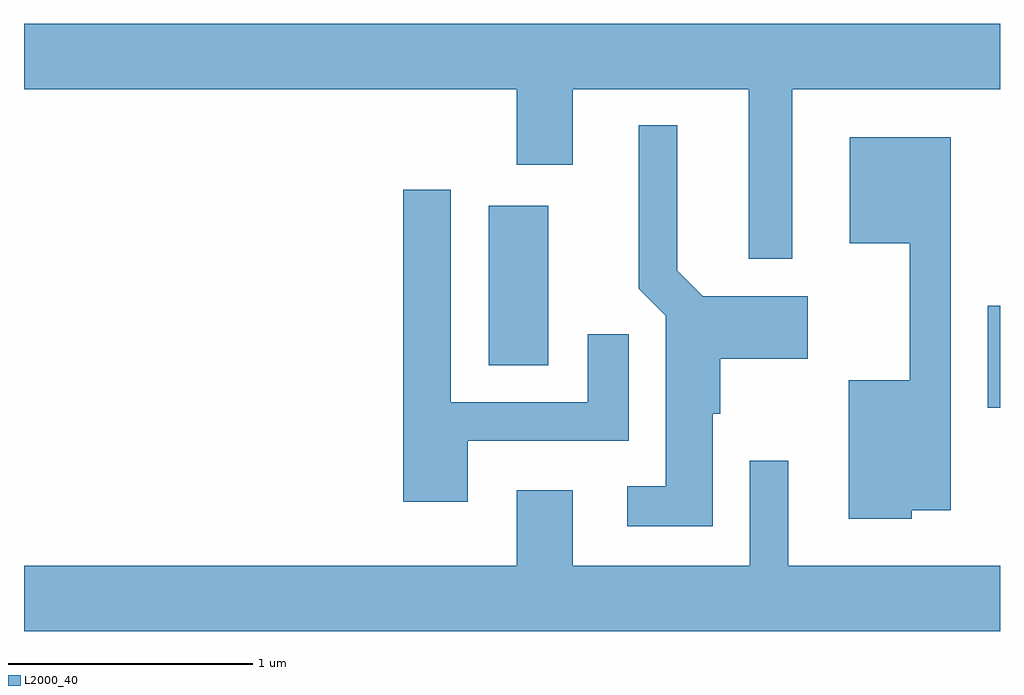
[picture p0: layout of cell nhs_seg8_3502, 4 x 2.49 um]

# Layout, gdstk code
import gdstk
lib = gdstk.Library(unit=1e-6, precision=1e-09)
def R(c, l, rs):  # rectangles x0, y0, x1, y1
    for r in rs: c.add(gdstk.rectangle(r[:2], r[2:], *l))
def P(c, l, *ps):  # polygons
    for p in ps: c.add(gdstk.Polygon(p, *l))
L2000_40 = (2000, 40)

nhs_seg8_3502 = lib.new_cell('nhs_seg8_3502')
R(nhs_seg8_3502, L2000_40, [(293.561,1903.931,293.611,1904.349), (291.516,1904.106,291.759,1904.759)])
P(nhs_seg8_3502, L2000_40, [(292.759,1905.236),(293.611,1905.236),(293.611,1905.504),(289.611,1905.504),(289.611,1905.236),(291.631,1905.236),(291.631,1904.926),(291.859,1904.926),(291.859,1905.236),(292.581,1905.236),(292.581,1904.541),(292.759,1904.541)],
  [(292.434,1903.906),(292.464,1903.906),(292.464,1904.131),(292.824,1904.131),(292.824,1904.389),(292.392,1904.389),(292.289,1904.492),(292.289,1905.088),(292.131,1905.088),(292.131,1904.419),(292.241,1904.309),(292.241,1903.609),(292.083,1903.609),(292.083,1903.446),(292.434,1903.446)],
  [(293.249,1903.511),(293.409,1903.511),(293.409,1905.039),(292.996,1905.039),(292.996,1904.606),(293.241,1904.606),(293.241,1904.044),(292.991,1904.044),(292.991,1903.476),(293.249,1903.476)],
  [(291.429,1903.796),(292.089,1903.796),(292.089,1904.233),(291.921,1904.233),(291.921,1903.954),(291.359,1903.954),(291.359,1904.824),(291.166,1904.824),(291.166,1903.546),(291.429,1903.546)],
  [(293.611,1903.284),(292.744,1903.284),(292.744,1903.713),(292.586,1903.713),(292.586,1903.284),(291.859,1903.284),(291.859,1903.594),(291.631,1903.594),(291.631,1903.284),(289.611,1903.284),(289.611,1903.016),(293.611,1903.016)])

lib.write_gds('nhs_seg8_3502.gds')
